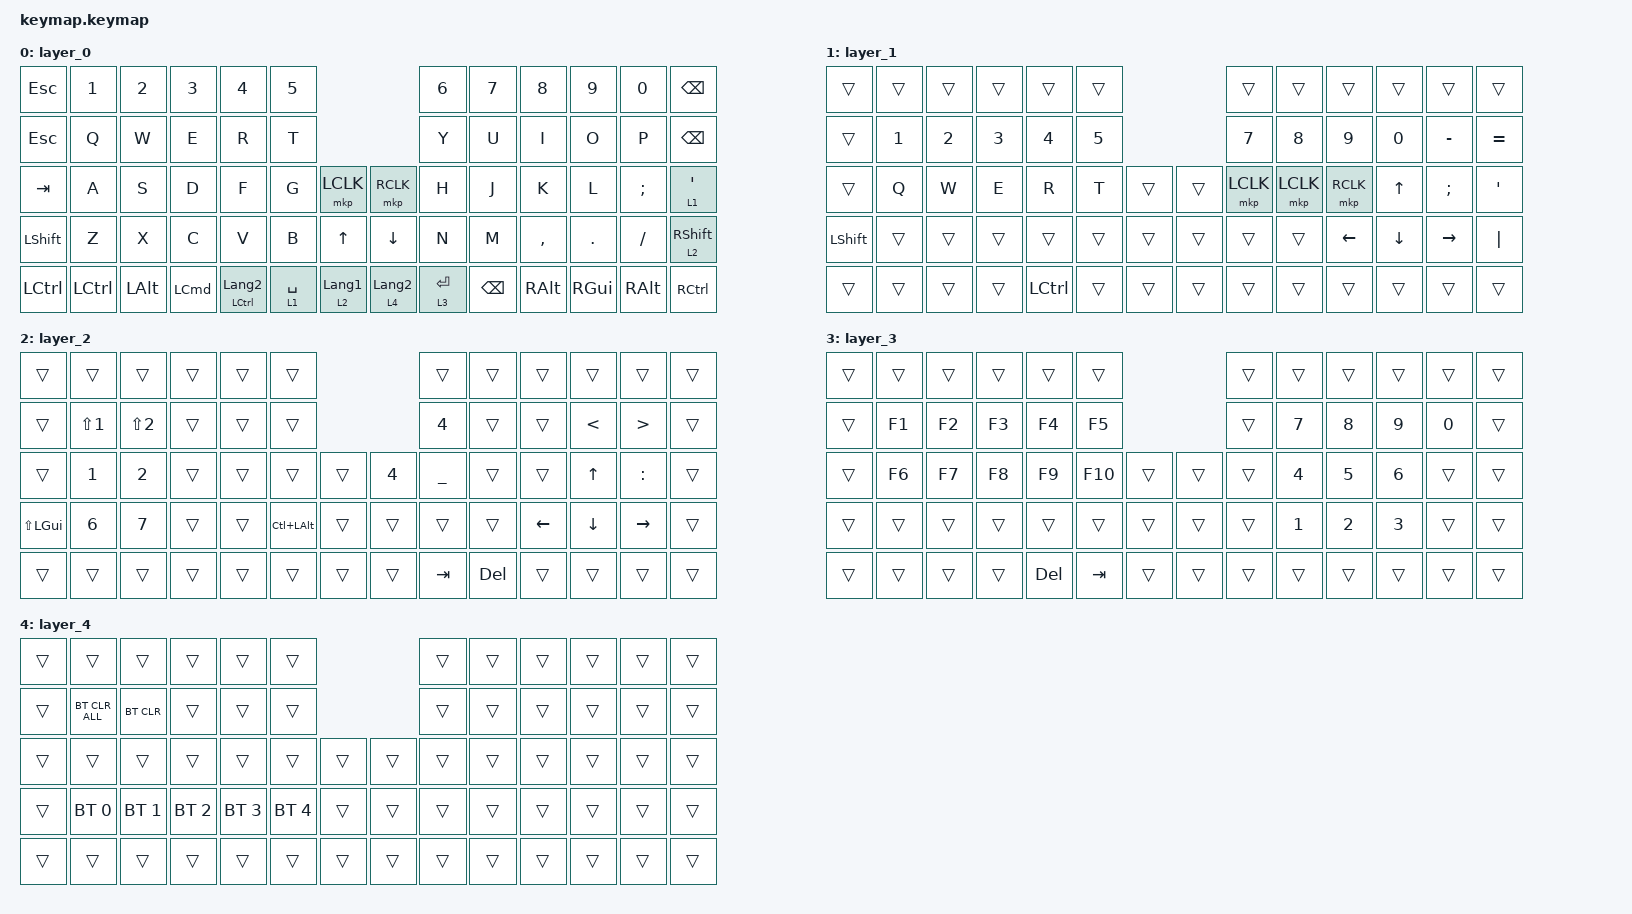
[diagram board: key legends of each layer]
#include <behaviors.dtsi>
#include <dt-bindings/zmk/bt.h>
#include <dt-bindings/zmk/keys.h>
#include <dt-bindings/zmk/pointing.h>

/ {
    combos {
        compatible = "zmk,combos";

        bt_clear {
            bindings = <&bt BT_CLR>;
            key-positions = <28 29>;
            layers = <2>;
        };
    };

    keymap {
        compatible = "zmk,keymap";

        layer_0 {
            bindings = <
&kp ESC    &kp N1     &kp N2        &kp N3            &kp N4                       &kp N5                                           &kp N6       &kp N7    &kp N8     &kp N9    &kp N0         &kp BSPC
&kp ESC    &kp Q      &kp W         &kp E             &kp R                        &kp T                                            &kp Y        &kp U     &kp I      &kp O     &kp P          &kp BSPC
&kp TAB    &kp A      &kp S         &kp D             &kp F                        &kp G        &mkp LCLK         &mkp RCLK         &kp H        &kp J     &kp K      &kp L     &kp SEMI       &lt 1 SQT
&kp LSHFT  &kp Z      &kp X         &kp C             &kp V                        &kp B        &kp UP_ARROW      &kp DOWN_ARROW    &kp N        &kp M     &kp COMMA  &kp DOT   &kp SLASH      &lt 2 RIGHT_SHIFT
&kp LCTRL  &kp LCTRL  &kp LEFT_ALT  &kp LEFT_COMMAND  &mt LEFT_CONTROL LANGUAGE_2  &lt 1 SPACE  &lt 2 LANGUAGE_1  &lt 4 LANGUAGE_2  &lt 3 ENTER  &kp BSPC  &kp RALT   &kp RGUI  &kp RIGHT_ALT  &kp RCTRL
            >;
        };

        layer_1 {
            bindings = <
&trans          &trans        &trans        &trans        &trans            &trans                        &trans        &trans        &trans        &trans          &trans         &trans
&trans          &kp NUMBER_1  &kp NUMBER_2  &kp NUMBER_3  &kp NUMBER_4      &kp NUMBER_5                  &kp NUMBER_7  &kp NUMBER_8  &kp NUMBER_9  &kp NUMBER_0    &kp MINUS      &kp EQUAL
&trans          &kp Q         &kp W         &kp E         &kp R             &kp T         &trans  &trans  &mkp LCLK     &mkp LCLK     &mkp RCLK     &kp UP_ARROW    &kp SEMICOLON  &kp SQT
&kp LEFT_SHIFT  &trans        &trans        &trans        &trans            &trans        &trans  &trans  &trans        &trans        &kp LEFT      &kp DOWN_ARROW  &kp RIGHT      &kp PIPE
&trans          &trans        &trans        &trans        &kp LEFT_CONTROL  &trans        &trans  &trans  &trans        &trans        &trans        &trans          &trans         &trans
            >;
        };

        layer_2 {
            bindings = <
&trans            &trans            &trans            &trans  &trans  &trans                                  &trans          &trans   &trans          &trans          &trans            &trans
&trans            &kp LS(NUMBER_1)  &kp LS(NUMBER_2)  &trans  &trans  &trans                                  &kp NUMBER_4    &trans   &trans          &kp LESS_THAN   &kp GREATER_THAN  &trans
&trans            &kp N1            &kp N2            &trans  &trans  &trans            &trans  &kp NUMBER_4  &kp UNDERSCORE  &trans   &trans          &kp UP_ARROW    &kp COLON         &trans
&kp LS(LEFT_GUI)  &kp N6            &kp N7            &trans  &trans  &kp LC(LEFT_ALT)  &trans  &trans        &trans          &trans   &kp LEFT_ARROW  &kp DOWN_ARROW  &kp RIGHT         &trans
&trans            &trans            &trans            &trans  &trans  &trans            &trans  &trans        &kp TAB         &kp DEL  &trans          &trans          &trans            &trans
            >;
        };

        layer_3 {
            bindings = <
&trans  &trans  &trans  &trans  &trans      &trans                   &trans  &trans        &trans        &trans        &trans        &trans
&trans  &kp F1  &kp F2  &kp F3  &kp F4      &kp F5                   &trans  &kp NUMBER_7  &kp NUMBER_8  &kp NUMBER_9  &kp NUMBER_0  &trans
&trans  &kp F6  &kp F7  &kp F8  &kp F9      &kp F10  &trans  &trans  &trans  &kp NUMBER_4  &kp NUMBER_5  &kp NUMBER_6  &trans        &trans
&trans  &trans  &trans  &trans  &trans      &trans   &trans  &trans  &trans  &kp NUMBER_1  &kp NUMBER_2  &kp NUMBER_3  &trans        &trans
&trans  &trans  &trans  &trans  &kp DELETE  &kp TAB  &trans  &trans  &trans  &trans        &trans        &trans        &trans        &trans
            >;
        };

        layer_4 {
            bindings = <
&trans  &trans          &trans        &trans        &trans        &trans                        &trans  &trans  &trans  &trans  &trans  &trans
&trans  &bt BT_CLR_ALL  &bt BT_CLR    &trans        &trans        &trans                        &trans  &trans  &trans  &trans  &trans  &trans
&trans  &trans          &trans        &trans        &trans        &trans        &trans  &trans  &trans  &trans  &trans  &trans  &trans  &trans
&trans  &bt BT_SEL 0    &bt BT_SEL 1  &bt BT_SEL 2  &bt BT_SEL 3  &bt BT_SEL 4  &trans  &trans  &trans  &trans  &trans  &trans  &trans  &trans
&trans  &trans          &trans        &trans        &trans        &trans        &trans  &trans  &trans  &trans  &trans  &trans  &trans  &trans
            >;
        };
    };
};
